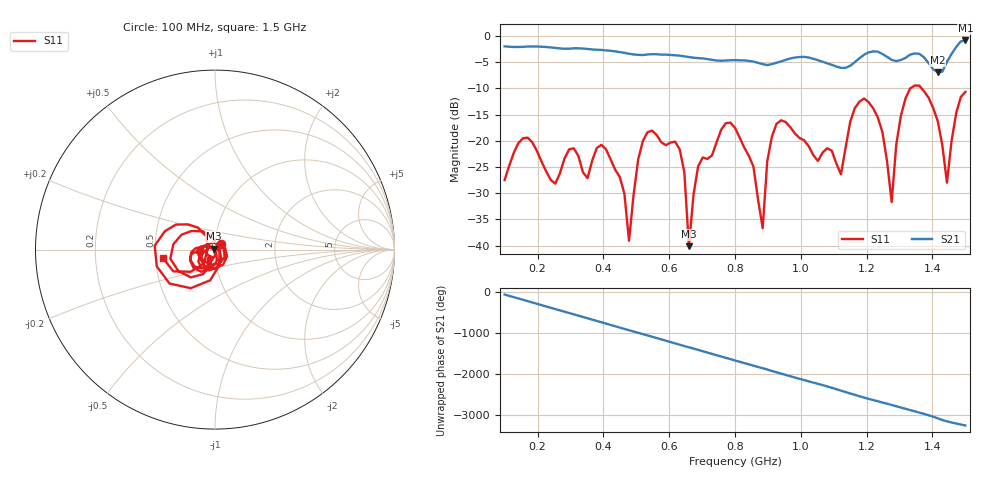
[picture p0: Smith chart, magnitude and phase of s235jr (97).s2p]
! NanoVNA-App
! Date: 2025-09-25 15:04:55
! Start: 100MHz Stop: 1,5GHz Points: 101
! S-Parameter data: F S11 S21 S12 S22
# Hz S RI R 50
!  Frequency  S11_Real  S11_Imag  S21_Real  S21_Imag  S12_Real  S12_Imag  S22_Real  S22_Imag
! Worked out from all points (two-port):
!   101 points, 100 MHz to 1.5 GHz, reference 50 ohm
!   highest |S21| = -0.84 dB at 1.5 GHz (marker M1); lowest = -6.9 dB at 1.416 GHz (marker M2)
!   |S21| within 3 dB of the highest: start of sweep to 642.9 MHz; 1.186 GHz to 1.259 GHz (72.55 MHz wide, 5.93 % of centre) (the widest 2 of 4)
!   lowest |S11| = -40.1 dB at 660 MHz (marker M3), VSWR 1.02, Z = 49.2 + j0.6 ohm
!   |S11| at or under -10 dB: start of sweep to 1.332 GHz; 1.367 GHz to end of sweep
!   S12 and S22 are empty: the file has one direction only
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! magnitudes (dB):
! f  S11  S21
! 100 MHz  -27.5  -2.0
! 170 MHz  -19.4  -2.0
! 338 MHz  -26.0  -2.4
! 408 MHz  -21.6  -2.7
! 478 MHz  -39.1  -3.4
! 520 MHz  -20.0  -3.6
! 576 MHz  -20.3  -3.5
! 632 MHz  -21.6  -3.7
! 660 MHz  -40.1  -4.0
! 688 MHz  -24.9  -4.2
! 800 MHz  -17.5  -4.6
! 884 MHz  -36.7  -5.4
! 926 MHz  -16.8  -5.1
! 1.038 GHz  -22.7  -4.3
! 1.122 GHz  -26.4  -6.1
! 1.192 GHz  -11.9  -3.6
! 1.248 GHz  -18.3  -3.4
! 1.276 GHz  -31.7  -4.5
! 1.332 GHz  -10.0  -3.5
! 1.416 GHz  -16.2  -6.9
! 1.444 GHz  -28.0  -4.9
! 1.5 GHz  -10.7  -0.8
